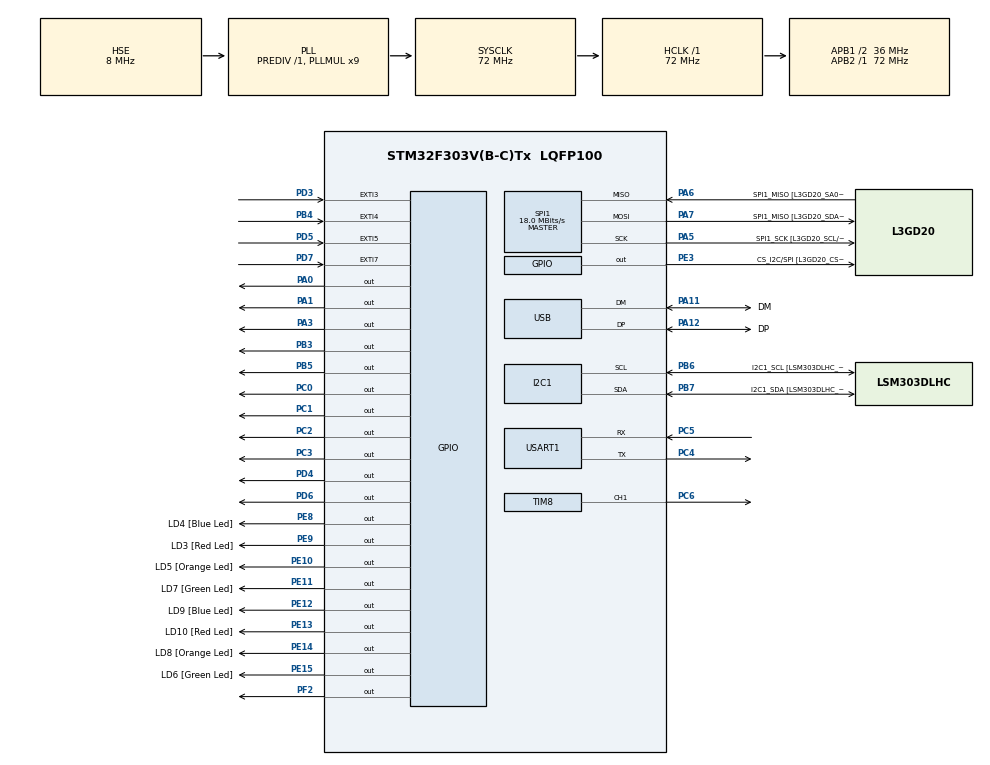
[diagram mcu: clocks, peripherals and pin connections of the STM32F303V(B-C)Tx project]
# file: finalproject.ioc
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I2C1.Timing-I2C=0x2000090E
Mcu.Family=STM32F3
Mcu.Name=STM32F303V(B-C)Tx
Mcu.Package=LQFP100
NVIC.EXTI3_IRQn=true\:0\:0\:false\:false\:true\:true\:true\:true
NVIC.EXTI4_IRQn=true\:0\:0\:false\:false\:true\:true\:true\:true
NVIC.EXTI9_5_IRQn=true\:0\:0\:false\:false\:true\:true\:true\:true
NVIC.PriorityGroup=NVIC_PRIORITYGROUP_4
NVIC.TIM2_IRQn=true\:1\:0\:true\:false\:true\:true\:true\:true
NVIC.TIM3_IRQn=true\:0\:0\:false\:false\:true\:true\:true\:true
PA0.Signal=GPIO_Output
PA1.Signal=GPIO_Output
PA11.GPIO_Label=DM
PA11.Mode=Device
PA11.Signal=USB_DM
PA12.GPIO_Label=DP
PA12.Mode=Device
PA12.Signal=USB_DP
PA13.GPIO_Label=SWDIO
PA13.Mode=Serial_Wire
PA13.Signal=SYS_JTMS-SWDIO
PA14.GPIO_Label=SWCLK
PA14.Mode=Serial_Wire
PA14.Signal=SYS_JTCK-SWCLK
PA3.Signal=GPIO_Output
PA5.GPIO_Label=SPI1_SCK [L3GD20_SCL/SPC]
PA5.Mode=Full_Duplex_Master
PA5.Signal=SPI1_SCK
PA6.GPIO_Label=SPI1_MISO [L3GD20_SA0/SDO]
PA6.Mode=Full_Duplex_Master
PA6.Signal=SPI1_MISO
PA7.GPIO_Label=SPI1_MISO [L3GD20_SDA/SDI/SDO]
PA7.Mode=Full_Duplex_Master
PA7.Signal=SPI1_MOSI
PB3.Signal=GPIO_Output
PB4.GPIO_PuPd=GPIO_PULLDOWN
PB4.Signal=GPXTI4
PB5.Signal=GPIO_Output
PB6.GPIO_Label=I2C1_SCL [LSM303DLHC_SCL]
PB6.GPIO_Pu=GPIO_PULLUP
PB6.Mode=I2C
PB6.Signal=I2C1_SCL
PB7.GPIO_Label=I2C1_SDA [LSM303DLHC_SDA]
PB7.GPIO_Pu=GPIO_PULLUP
PB7.Mode=I2C
PB7.Signal=I2C1_SDA
PC0.Signal=GPIO_Output
PC1.Signal=GPIO_Output
PC14-OSC32_IN.GPIO_Label=OSC32_IN
PC14-OSC32_IN.Signal=RCC_OSC32_IN
PC15-OSC32_OUT.GPIO_Label=OSC32_OUT
PC15-OSC32_OUT.Signal=RCC_OSC32_OUT
PC2.Signal=GPIO_Output
PC3.Signal=GPIO_Output
PC4.Mode=Asynchronous
PC4.Signal=USART1_TX
PC5.Mode=Asynchronous
PC5.Signal=USART1_RX
PC6.Signal=S_TIM8_CH1
PD3.GPIO_PuPd=GPIO_PULLDOWN
PD3.Signal=GPXTI3
PD4.Signal=GPIO_Output
PD5.GPIO_PuPd=GPIO_PULLDOWN
PD5.Signal=GPXTI5
PD6.Signal=GPIO_Output
PD7.GPIO_PuPd=GPIO_PULLDOWN
PD7.Signal=GPXTI7
PE10.GPIO_Label=LD5 [Orange Led]
PE10.Signal=GPIO_Output
PE11.GPIO_Label=LD7 [Green Led]
PE11.Signal=GPIO_Output
PE12.GPIO_Label=LD9 [Blue Led]
PE12.Signal=GPIO_Output
PE13.GPIO_Label=LD10 [Red Led]
PE13.Signal=GPIO_Output
PE14.GPIO_Label=LD8 [Orange Led]
PE14.Signal=GPIO_Output
PE15.GPIO_Label=LD6 [Green Led]
PE15.Signal=GPIO_Output
PE3.GPIO_Label=CS_I2C/SPI [L3GD20_CS_I2C/SPI]
PE3.Signal=GPIO_Output
PE8.GPIO_Label=LD4 [Blue Led]
PE8.Signal=GPIO_Output
PE9.GPIO_Label=LD3 [Red Led]
PE9.Signal=GPIO_Output
PF0-OSC_IN.GPIO_Label=OSC_IN
PF0-OSC_IN.Mode=HSE-External-Clock-Source
PF0-OSC_IN.Signal=RCC_OSC_IN
PF1-OSC_OUT.GPIO_Label=OSC_OUT
PF1-OSC_OUT.Signal=RCC_OSC_OUT
PF2.Signal=GPIO_Output
ProjectManager.HeapSize=0x200
ProjectManager.StackSize=0x400
ProjectManager.TargetToolchain=STM32CubeIDE
RCC.AHBFreq_Value=72000000
RCC.APB1CLKDivider=RCC_HCLK_DIV2
RCC.APB1Freq_Value=36000000
RCC.APB1TimFreq_Value=72000000
RCC.APB2Freq_Value=72000000
RCC.APB2TimFreq_Value=72000000
RCC.CortexFreq_Value=72000000
RCC.HCLKFreq_Value=72000000
RCC.HSE_VALUE=8000000
RCC.HSI_VALUE=8000000
RCC.LSE_VALUE=32768
RCC.PLLMUL=RCC_PLL_MUL9
RCC.PRESCALERUSB=RCC_USBCLKSOURCE_PLL_DIV1_5
RCC.SYSCLKFreq_VALUE=72000000
RCC.SYSCLKSourceVirtual=RCC_SYSCLKSOURCE_PLLCLK
RCC.USBFreq_Value=48000000
RTC.AsynchPrediv=39
RTC.Date=2
RTC.SynchPrediv=999
SH.S_TIM8_CH1.0=TIM8_CH1,PWM Generation1 CH1
SPI1.BaudRatePrescaler=SPI_BAUDRATEPRESCALER_4
SPI1.BaudRatePrescaler-Full_Duplex_Master=SPI_BAUDRATEPRESCALER_2
SPI1.CalculateBaudRate=18.0 MBits/s
SPI1.CalculateBaudRate-Full_Duplex_Master=24.0 MBits/s
SPI1.Direction=SPI_DIRECTION_2LINES
SPI1.Mode=SPI_MODE_MASTER
SPI1.Mode-Full_Duplex_Master=SPI_MODE_MASTER
SPI1.VirtualType=VM_MASTER
TIM2.Period=999
TIM2.Prescaler=143
TIM3.Period=999
TIM3.Prescaler=17
TIM8.Channel-PWM\ Generation1\ CH1=TIM_CHANNEL_1
TIM8.Prescaler=71
USART1.VirtualMode-Asynchronous=VM_ASYNC
VP_RTC_VS_RTC_Activate.Mode=RTC_Enabled
VP_RTC_VS_RTC_Calendar.Mode=RTC_Calendar
VP_TIM2_VS_ClockSourceINT.Mode=Internal
VP_TIM3_VS_ClockSourceINT.Mode=Internal
VP_TIM8_VS_ClockSourceINT.Mode=Internal
board=STM32F3DISCOVERY

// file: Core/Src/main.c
/* USER CODE BEGIN Header */
/**
 ******************************************************************************
 * @file           : main.c
 * @brief          : Main program body
 ******************************************************************************
 * @attention
 *
 * Copyright (c) 2024 STMicroelectronics.
 * All rights reserved.
 *
 * This software is licensed under terms that can be found in the LICENSE file
 * in the root directory of this software component.
 * If no LICENSE file comes with this software, it is provided AS-IS.
 *
 ******************************************************************************
 */
/* USER CODE END Header */
#include "main.h"

/* USER CODE BEGIN Includes */
#include "LiquidCrystal.h"
/* USER CODE END Includes */

/* USER CODE BEGIN PTD */
RTC_TimeTypeDef myTime;
RTC_DateTypeDef myDate;

typedef unsigned char byte;

typedef struct {
    uint16_t frequency;
    uint16_t duration;
} Tone;

typedef struct {
    char symbol; //T tank, B bullet, H health, R rocket, M manee
    char direction; // U, D, L, R
    int x, y;
    int health;
    int bullet;
    int score;
} Element;

/* USER CODE END PTD */

/* USER CODE BEGIN PD */
#define NOTE_B0  31
#define NOTE_C1  33
#define NOTE_CS1 35
#define NOTE_D1  37
#define NOTE_DS1 39
#define NOTE_E1  41
#define NOTE_F1  44
#define NOTE_FS1 46
#define NOTE_G1  49
#define NOTE_GS1 52
#define NOTE_A1  55
#define NOTE_AS1 58
#define NOTE_B1  62
#define NOTE_C2  65
#define NOTE_CS2 69
#define NOTE_D2  73
#define NOTE_DS2 78
#define NOTE_E2  82
#define NOTE_F2  87
#define NOTE_FS2 93
#define NOTE_G2  98
#define NOTE_GS2 104
#define NOTE_A2  110
#define NOTE_AS2 117
#define NOTE_B2  123
#define NOTE_C3  131
#define NOTE_CS3 139
#define NOTE_D3  147
#define NOTE_DS3 156
#define NOTE_E3  165
#define NOTE_F3  175
#define NOTE_FS3 185
#define NOTE_G3  196
#define NOTE_GS3 208
#define NOTE_A3  220
#define NOTE_AS3 233
#define NOTE_B3  247
#define NOTE_C4  262
#define NOTE_CS4 277
#define NOTE_D4  294
#define NOTE_DS4 311
#define NOTE_E4  330
#define NOTE_F4  349
#define NOTE_FS4 370
#define NOTE_G4  392
#define NOTE_GS4 415
#define NOTE_A4  440
#define NOTE_AS4 466
#define NOTE_B4  494
#define NOTE_C5  523
#define NOTE_CS5 554
#define NOTE_D5  587
#define NOTE_DS5 622
#define NOTE_E5  659
#define NOTE_F5  698
#define NOTE_FS5 740
#define NOTE_G5  784
#define NOTE_GS5 831
#define NOTE_A5  880
#define NOTE_AS5 932
#define NOTE_B5  988
#define NOTE_C6  1047
#define NOTE_CS6 1109
#define NOTE_D6  1175
#define NOTE_DS6 1245
#define NOTE_E6  1319
#define NOTE_F6  1397
#define NOTE_FS6 1480
#define NOTE_G6  1568
#define NOTE_GS6 1661
#define NOTE_A6  1760
#define NOTE_AS6 1865
#define NOTE_B6  1976
#define NOTE_C7  2093
#define NOTE_CS7 2217
#define NOTE_D7  2349
#define NOTE_DS7 2489
#define NOTE_E7  2637
#define NOTE_F7  2794
#define NOTE_FS7 2960
#define NOTE_G7  3136
#define NOTE_GS7 3322
#define NOTE_A7  3520
#define NOTE_AS7 3729
#define NOTE_B7  3951
#define NOTE_C8  4186
#define NOTE_CS8 4435
#define NOTE_D8  4699
#define NOTE_DS8 4978
#define REST      0
/* USER CODE END PD */

/* USER CODE BEGIN PM */
#define ARRAY_LENGTH(arr) (sizeof(arr) / sizeof((arr)[0]))
/* USER CODE END PM */

I2C_HandleTypeDef hi2c1;

RTC_HandleTypeDef hrtc;

SPI_HandleTypeDef hspi1;

TIM_HandleTypeDef htim2;
TIM_HandleTypeDef htim3;
TIM_HandleTypeDef htim8;

UART_HandleTypeDef huart1;

PCD_HandleTypeDef hpcd_USB_FS;

/* USER CODE BEGIN PV */
int mode = 0;
int health = 2;
int bullet = 8;
int sounds = 1;
int music = 1;
int clear_flag = 0;
int flag = 0;
int select_line = 1;
int select_item = 1;
char name1[20];
char name2[20];
int x1 = 2, y1 = 0;
int x2 = 1, y2 = 19;
char str[100];

int sounds_play = 0;
int sounds_time;

char msg[100];

byte tankU[] = {0x00, 0x0E, 0x0E, 0x0E, 0x1F, 0x1F, 0x00, 0x00};

byte tankR[] = {0x1C, 0x1C, 0x1C, 0x1F, 0x1F, 0x1C, 0x1C, 0x1C};
byte tankD[] = {0x00, 0x00, 0x1F, 0x1F, 0x0E, 0x0E, 0x0E, 0x00};
byte tankL[] = {0x07, 0x07, 0x07, 0x1F, 0x1F, 0x07, 0x07, 0x07};

byte wall[] = {0x1F, 0x1F, 0x1F, 0x1F, 0x1F, 0x1F, 0x1F, 0x1F};

byte manee[] = {0x1F, 0x0E, 0x0E, 0x0E, 0x0E, 0x0E, 0x0E, 0x1F};

byte heart[] = {0x00, 0x00, 0x0A, 0x1F, 0x1F, 0x0E, 0x04, 0x00};

byte rocket[] = {0x08, 0x1C, 0x08, 0x03, 0x07, 0x0E, 0x1C, 0x08};

byte box[] = {0x1F, 0x11, 0x15, 0x1D, 0x19, 0x1B, 0x1F, 0x1B};

Element board[4][20];

GPIO_TypeDef *const Row_ports[] = {GPIOD, GPIOD, GPIOD, GPIOB};
const uint16_t Row_pins[] = {GPIO_PIN_3, GPIO_PIN_5, GPIO_PIN_7, GPIO_PIN_4};
GPIO_TypeDef *const Column_ports[] = {GPIOD, GPIOD, GPIOB, GPIOB};
const uint16_t Column_pins[] =
        {GPIO_PIN_4, GPIO_PIN_6, GPIO_PIN_3, GPIO_PIN_5};
volatile uint32_t last_gpio_exti;

const Tone *volatile melody_ptr;
volatile uint16_t melody_tone_count;
volatile uint16_t current_tone_number;
volatile uint32_t current_tone_end;
volatile uint16_t volume = 100;
const Tone one[] = {{NOTE_B4,  128},
                    {NOTE_B5,  128},
                    {NOTE_FS5, 128},
                    {
                     NOTE_DS5, 128},
                    {NOTE_B5,  64},
                    {NOTE_FS5, 192},
                    {NOTE_DS5, 256},
                    {NOTE_C5,  128},
                    {NOTE_C6,  128},
                    {NOTE_G6,  128},
                    {NOTE_E6,  128},
                    {NOTE_C6,  64},
                    {NOTE_G6,  192},
                    {NOTE_E6,  256},
                    {NOTE_B4,  128},
                    {
                     NOTE_B5,  128},
                    {NOTE_FS5, 128},
                    {NOTE_DS5, 128},
                    {NOTE_B5,
                               64},
                    {NOTE_FS5, 192},
                    {NOTE_DS5, 256},
                    {NOTE_DS5, 64},
                    {
                     NOTE_E5,  64},
                    {NOTE_F5,  64},
                    {NOTE_F5,  64},
                    {NOTE_FS5, 64},
                    {NOTE_G5,  64},
                    {NOTE_G5,  64},
                    {NOTE_GS5, 64},
                    {
                     NOTE_A5,  128},
                    {NOTE_B5,  256},
                    {0,        0}};

const Tone two[] = {{REST,     750},
                    {NOTE_D4,  374},
                    {NOTE_G4,  561},
                    {
                     NOTE_AS4, 187},
                    {NOTE_A4,  374},
                    {NOTE_G4,  750},
                    {NOTE_D5,  374},
                    {
                     NOTE_C5,  1124},
                    {NOTE_A4,  1124},
                    {NOTE_G4,  561},
                    {NOTE_AS4, 187},
                    {NOTE_A4,  374},
                    {NOTE_F4,  750},
                    {NOTE_GS4, 374},
                    {NOTE_D4,  2249},
                    {NOTE_D4,  374},
                    {NOTE_G4,  561},
                    {NOTE_AS4, 187},
                    {NOTE_A4,  374},
                    {NOTE_G4,  750},
                    {NOTE_D5,  374},
                    {NOTE_F5,  750},
                    {NOTE_E5,  374},
                    {NOTE_DS5, 750},
                    {NOTE_B4,  374},
                    {NOTE_DS5, 561},
                    {NOTE_D5,  187},
                    {NOTE_CS5, 374},
                    {NOTE_CS4, 750},
                    {NOTE_B4,  374},
                    {NOTE_G4,  2249},
                    {NOTE_AS4, 374},
                    {NOTE_D5,  750},
                    {NOTE_AS4, 374},
                    {NOTE_D5,  750},
                    {NOTE_AS4, 374},
                    {NOTE_DS5, 750},
                    {NOTE_D5,  374},
                    {NOTE_CS5, 750},
                    {NOTE_A4,  374},
                    {NOTE_AS4, 561},
                    {NOTE_D5,  187},
                    {NOTE_CS5, 374},
                    {NOTE_CS4, 750},
                    {NOTE_D4,  374},
                    {NOTE_D5,  1700},
                    {REST,     150},
                    {
                     NOTE_AS4, 374},
                    {NOTE_D5,  750},
                    {NOTE_AS4, 374},
                    {NOTE_D5,
                               750},
                    {NOTE_AS4, 374},
                    {NOTE_F5,  750},
                    {NOTE_E5,  374},
                    {
                     NOTE_DS5, 750},
                    {NOTE_B4,  374},
                    {NOTE_DS5, 561},
                    {NOTE_D5,
                               187},
                    {NOTE_CS5, 374},
                    {NOTE_CS4, 750},
                    {NOTE_AS4, 374},
                    {NOTE_G4,  2249},
                    {0,        0}};
/* USER CODE END PV */

void SystemClock_Config(void);

static void MX_GPIO_Init(void);

static void MX_I2C1_Init(void);

static void MX_SPI1_Init(void);

static void MX_USB_PCD_Init(void);

static void MX_TIM2_Init(void);

static void MX_USART1_UART_Init(void);

static void MX_RTC_Init(void);

static void MX_TIM8_Init(void);

static void MX_TIM3_Init(void);

/* USER CODE BEGIN 0 */

typedef struct {
    GPIO_TypeDef *port;
    uint16_t pin;
} pin_type;

pin_type pins[9] = {{},
                    {.port = GPIOE, .pin = GPIO_PIN_15},
                    {
                            .port = GPIOE, .pin = GPIO_PIN_8},
                    {.port = GPIOE, .pin = GPIO_PIN_9},
                    {.port = GPIOE, .pin =
                    GPIO_PIN_10},
                    {.port = GPIOE, .pin = GPIO_PIN_11},
                    {.port =
                    GPIOE, .pin = GPIO_PIN_12},
                    {.port = GPIOE, .pin = GPIO_PIN_13},
                    {.port = GPIOE, .pin =
                    GPIO_PIN_14}};

typedef struct {
    pin_type digit_activators[4];
    pin_type BCD_input[4];
    uint32_t digits[4];
    uint32_t number;
    uint32_t selected;
} seven_segment_type;

seven_segment_type seven_segment = {.digit_activators = {{.port = GPIOC,
                                                                 .pin = GPIO_PIN_0},
                                                         {.port = GPIOC, .pin = GPIO_PIN_1},
                                                         {.port =
                                                         GPIOC, .pin = GPIO_PIN_2},
                                                         {.port = GPIOC, .pin = GPIO_PIN_3}},
        .BCD_input = {{.port = GPIOF, .pin = GPIO_PIN_2},
                      {.port = GPIOA,
                              .pin = GPIO_PIN_1},
                      {.port = GPIOA, .pin = GPIO_PIN_0},
                      {
                              .port = GPIOA, .pin = GPIO_PIN_3}}, .digits = {1, 1, 0, 0},
        .number = 0};

void seven_segment_display_decimal(uint32_t n) {
    if (n < 10) {
        HAL_GPIO_WritePin(seven_segment.BCD_input[0].port,
                          seven_segment.BCD_input[0].pin,
                          (n & 1) ? GPIO_PIN_SET : GPIO_PIN_RESET);
        HAL_GPIO_WritePin(seven_segment.BCD_input[1].port,
                          seven_segment.BCD_input[1].pin,
                          (n & 2) ? GPIO_PIN_SET : GPIO_PIN_RESET);
        HAL_GPIO_WritePin(seven_segment.BCD_input[2].port,
                          seven_segment.BCD_input[2].pin,
                          (n & 4) ? GPIO_PIN_SET : GPIO_PIN_RESET);
        HAL_GPIO_WritePin(seven_segment.BCD_input[3].port,
                          seven_segment.BCD_input[3].pin,
                          (n & 8) ? GPIO_PIN_SET : GPIO_PIN_RESET);
    }
}

void seven_segment_deactivate_digits(void) {
    for (int i = 0; i < 4; ++i) {
        HAL_GPIO_WritePin(seven_segment.digit_activators[i].port,
                          seven_segment.digit_activators[i].pin, GPIO_PIN_RESET);
    }
}

uint32_t select_time;

void seven_segment_activate_digit(uint32_t d) {
    if (d < 4) {
        if ((HAL_GetTick() - select_time > 150 && board[x1][y1].health <= 1
             && d == 3)
            || (HAL_GetTick() - select_time > 150
                && board[x2][y2].health <= 1 && d == 1)) {
            HAL_GPIO_TogglePin(seven_segment.digit_activators[d].port,
                               seven_segment.digit_activators[d].pin);
            select_time = HAL_GetTick();
        } else if ((board[x1][y1].health == 1 && d == 3)
                   || (board[x2][y2].health == 1 && d == 1)) {
            HAL_GPIO_WritePin(GPIOC, GPIO_PIN_0, 0);
        } else {
            HAL_GPIO_WritePin(seven_segment.digit_activators[d].port,
                              seven_segment.digit_activators[d].pin, GPIO_PIN_SET);
        }
    }

}

void seven_segment_set_num(uint32_t n) {
    if (n < 10000) {
        seven_segment.number = n;
        for (uint32_t i = 0; i < 4; ++i) {
            seven_segment.digits[3 - i] = n % 10;
            n /= 10;
        }
    }
}

void seven_segment_refresh(void) {
    static uint32_t state = 0;
    static uint32_t last_time = 0;
    int x = 5;
    if (HAL_GetTick() - last_time > x) {
        seven_segment_deactivate_digits();
        seven_segment_activate_digit(state);
        seven_segment_display_decimal(seven_segment.digits[state]);
        state = (state + 1) % 4;
        last_time = HAL_GetTick();
    }
}

TIM_HandleTypeDef *pwm_timer = &htim8; // Point to PWM timer configured in CubeMX
uint32_t pwm_channel = TIM_CHANNEL_1;  // Specify configured PWM channel

void PWM_Start() {
    HAL_TIM_PWM_Start(pwm_timer, pwm_channel);
}

void PWM_Change_Tone(uint16_t pwm_freq, uint16_t volume) {
    if (pwm_freq == 0 || pwm_freq > 20000) {
        __HAL_TIM_SET_COMPARE(pwm_timer, pwm_channel, 0);
    } else {
        const uint32_t internal_clock_freq = HAL_RCC_GetSysClockFreq();
        const uint16_t prescaler = 1 + internal_clock_freq / pwm_freq / 60000;
        const uint32_t timer_clock = internal_clock_freq / prescaler;
        const uint32_t period_cycles = timer_clock / pwm_freq;
        const uint32_t pulse_width = volume * period_cycles / 1000 / 2;

        pwm_timer->Instance->PSC = prescaler - 1;
        pwm_timer->Instance->ARR = period_cycles - 1;
        pwm_timer->Instance->EGR = TIM_EGR_UG;
        __HAL_TIM_SET_COMPARE(pwm_timer, pwm_channel, pulse_width);
    }
}

void Change_Melody(const Tone *melody, uint16_t tone_count) {
    melody_ptr = melody;
    melody_tone_count = tone_count;
    current_tone_number = 0;
}

void Update_Melody() {
    if ((HAL_GetTick() > current_tone_end)
        && (current_tone_number < melody_tone_count) && mode != 2) {
        const Tone active_tone = *(melody_ptr + current_tone_number);
        PWM_Change_Tone(active_tone.frequency, volume);
        current_tone_end = HAL_GetTick() + active_tone.duration;
        current_tone_number++;
        if (current_tone_number == melody_tone_count)
            current_tone_number = 0;
    }
}
/* USER CODE END 0 */

int main(void) {
    /* USER CODE BEGIN 1 */
    sprintf(name1, "SAJJAD");
    sprintf(name2, "TAHOORA");
    /* USER CODE END 1 */

    /* MCU Configuration--------------------------------------------------------*/

    /* Reset of all peripherals, Initializes the Flash interface and the Systick. */
    HAL_Init();

    /* Configure the system clock */
    SystemClock_Config();

    /* Initialize all configured peripherals */
    MX_GPIO_Init();
    MX_I2C1_Init();
    MX_SPI1_Init();
    MX_USB_PCD_Init();
    MX_TIM2_Init();
    MX_USART1_UART_Init();
    MX_RTC_Init();
    MX_TIM8_Init();
    MX_TIM3_Init();
    /* USER CODE BEGIN 2 */
    LiquidCrystal(GPIOD, GPIO_PIN_8, GPIO_PIN_9, GPIO_PIN_10, GPIO_PIN_11,
                  GPIO_PIN_12, GPIO_PIN_13, GPIO_PIN_14);
    begin(20, 4);
    HAL_GPIO_WritePin(Column_ports[0], Column_pins[0], 1);
    HAL_GPIO_WritePin(Column_ports[1], Column_pins[1], 1);
    HAL_GPIO_WritePin(Column_ports[2], Column_pins[2], 1);
    HAL_GPIO_WritePin(Column_ports[3], Column_pins[3], 1);
//  myTime.Hours = 0;
//  myTime.Minutes = 0;
//  myTime.Seconds = 0;
//  HAL_RTC_SetTime(&hrtc, &myTime, RTC_FORMAT_BIN);
//  myDate.Year = 0;
//  myDate.Month = 0;
//  myDate.Date = 0;
//  HAL_RTC_SetDate(&hrtc, &myDate, RTC_FORMAT_BIN);
    createChar(0, tankU);
    createChar(1, tankR);
    createChar(2, tankD);
    createChar(3, tankL);
    createChar(4, wall);
    createChar(5, manee);
    createChar(6, heart);
    createChar(7, rocket);
    HAL_TIM_Base_Start_IT(&htim2);
    HAL_TIM_Base_Start_IT(&htim3);
    HAL_TIM_Base_Start_IT(&htim8);
    PWM_Start();
    /* USER CODE END 2 */

    /* Infinite loop */
    /* USER CODE BEGIN WHILE */
    while (1) {
        if (mode == 2) {
            static uint32_t last_time = 0;
//            if (HAL_GetTick() - last_time > 30000) {
//                generate_random_items();
//                last_time = HAL_GetTick();
//            }
            print_board();
        } else if (mode == 5) {
            sprintf(msg, "END\n");
            HAL_UART_Transmit(&huart1, msg, strlen(msg), 100);
            sprintf(msg, "Score First: %d\n", board[x1][y1].score);
            HAL_UART_Transmit(&huart1, msg, strlen(msg), 100);
            sprintf(msg, "Score Second: %d\n", board[x2][y2].score);
            HAL_UART_Transmit(&huart1, msg, strlen(msg), 100);
            sprintf(msg, "**********\n");
            HAL_UART_Transmit(&huart1, msg, strlen(msg), 100);
            print_end();
            break;
        }

        /* USER CODE END WHILE */

    }
}

void SystemClock_Config(void) {
    RCC_OscInitTypeDef RCC_OscInitStruct = {0};
    RCC_ClkInitTypeDef RCC_ClkInitStruct = {0};
    RCC_PeriphCLKInitTypeDef PeriphClkInit = {0};

    /** Initializes the RCC Oscillators according to the specified parameters
    * in the RCC_OscInitTypeDef structure.
    */
    RCC_OscInitStruct.OscillatorType = RCC_OSCILLATORTYPE_HSI | RCC_OSCILLATORTYPE_LSI
                                       | RCC_OSCILLATORTYPE_HSE;
    RCC_OscInitStruct.HSEState = RCC_HSE_BYPASS;
    RCC_OscInitStruct.HSEPredivValue = RCC_HSE_PREDIV_DIV1;
    RCC_OscInitStruct.HSIState = RCC_HSI_ON;
    RCC_OscInitStruct.HSICalibrationValue = RCC_HSICALIBRATION_DEFAULT;
    RCC_OscInitStruct.LSIState = RCC_LSI_ON;
    RCC_OscInitStruct.PLL.PLLState = RCC_PLL_ON;
    RCC_OscInitStruct.PLL.PLLSource = RCC_PLLSOURCE_HSE;
    RCC_OscInitStruct.PLL.PLLMUL = RCC_PLL_MUL9;
    if (HAL_RCC_OscConfig(&RCC_OscInitStruct) != HAL_OK) {
        Error_Handler();
    }

    /** Initializes the CPU, AHB and APB buses clocks
    */
    RCC_ClkInitStruct.ClockType = RCC_CLOCKTYPE_HCLK | RCC_CLOCKTYPE_SYSCLK
                                  | RCC_CLOCKTYPE_PCLK1 | RCC_CLOCKTYPE_PCLK2;
    RCC_ClkInitStruct.SYSCLKSource = RCC_SYSCLKSOURCE_PLLCLK;
    RCC_ClkInitStruct.AHBCLKDivider = RCC_SYSCLK_DIV1;
    RCC_ClkInitStruct.APB1CLKDivider = RCC_HCLK_DIV2;
    RCC_ClkInitStruct.APB2CLKDivider = RCC_HCLK_DIV1;

    if (HAL_RCC_ClockConfig(&RCC_ClkInitStruct, FLASH_LATENCY_2) != HAL_OK) {
        Error_Handler();
    }
    PeriphClkInit.PeriphClockSelection = RCC_PERIPHCLK_USB | RCC_PERIPHCLK_USART1
                                         | RCC_PERIPHCLK_I2C1 | RCC_PERIPHCLK_RTC
                                         | RCC_PERIPHCLK_TIM8;
    PeriphClkInit.Usart1ClockSelection = RCC_USART1CLKSOURCE_PCLK2;
    PeriphClkInit.I2c1ClockSelection = RCC_I2C1CLKSOURCE_HSI;
    PeriphClkInit.RTCClockSelection = RCC_RTCCLKSOURCE_LSI;
    PeriphClkInit.USBClockSelection = RCC_USBCLKSOURCE_PLL_DIV1_5;
    PeriphClkInit.Tim8ClockSelection = RCC_TIM8CLK_HCLK;
    if (HAL_RCCEx_PeriphCLKConfig(&PeriphClkInit) != HAL_OK) {
        Error_Handler();
    }
}

static void MX_I2C1_Init(void) {

    hi2c1.Instance = I2C1;
    hi2c1.Init.Timing = 0x2000090E;
    hi2c1.Init.OwnAddress1 = 0;
    hi2c1.Init.AddressingMode = I2C_ADDRESSINGMODE_7BIT;
    hi2c1.Init.DualAddressMode = I2C_DUALADDRESS_DISABLE;
    hi2c1.Init.OwnAddress2 = 0;
    hi2c1.Init.OwnAddress2Masks = I2C_OA2_NOMASK;
    hi2c1.Init.GeneralCallMode = I2C_GENERALCALL_DISABLE;
    hi2c1.Init.NoStretchMode = I2C_NOSTRETCH_DISABLE;
    if (HAL_I2C_Init(&hi2c1) != HAL_OK) {
        Error_Handler();
    }

    /** Configure Analogue filter
    */
    if (HAL_I2CEx_ConfigAnalogFilter(&hi2c1, I2C_ANALOGFILTER_ENABLE) != HAL_OK) {
        Error_Handler();
    }

    /** Configure Digital filter
    */
    if (HAL_I2CEx_ConfigDigitalFilter(&hi2c1, 0) != HAL_OK) {
        Error_Handler();
    }

}

static void MX_RTC_Init(void) {

    RTC_TimeTypeDef sTime = {0};
    RTC_DateTypeDef sDate = {0};

    /** Initialize RTC Only
    */
    hrtc.Instance = RTC;
    hrtc.Init.HourFormat = RTC_HOURFORMAT_24;
    hrtc.Init.AsynchPrediv = 39;
    hrtc.Init.SynchPrediv = 999;
    hrtc.Init.OutPut = RTC_OUTPUT_DISABLE;
    hrtc.Init.OutPutPolarity = RTC_OUTPUT_POLARITY_HIGH;
    hrtc.Init.OutPutType = RTC_OUTPUT_TYPE_OPENDRAIN;
    if (HAL_RTC_Init(&hrtc) != HAL_OK) {
        Error_Handler();
    }

    /** Initialize RTC and set the Time and Date
    */
    sTime.Hours = 0x0;
    sTime.Minutes = 0x0;
    sTime.Seconds = 0x0;
    sTime.DayLightSaving = RTC_DAYLIGHTSAVING_NONE;
    sTime.StoreOperation = RTC_STOREOPERATION_RESET;
    if (HAL_RTC_SetTime(&hrtc, &sTime, RTC_FORMAT_BCD) != HAL_OK) {
        Error_Handler();
    }
    sDate.WeekDay = RTC_WEEKDAY_MONDAY;
    sDate.Month = RTC_MONTH_JANUARY;
    sDate.Date = 0x2;
    sDate.Year = 0x0;

    if (HAL_RTC_SetDate(&hrtc, &sDate, RTC_FORMAT_BCD) != HAL_OK) {
        Error_Handler();
    }

}

static void MX_SPI1_Init(void) {

    /* SPI1 parameter configuration*/
    hspi1.Instance = SPI1;
    hspi1.Init.Mode = SPI_MODE_MASTER;
    hspi1.Init.Direction = SPI_DIRECTION_2LINES;
    hspi1.Init.DataSize = SPI_DATASIZE_4BIT;
    hspi1.Init.CLKPolarity = SPI_POLARITY_LOW;
    hspi1.Init.CLKPhase = SPI_PHASE_1EDGE;
    hspi1.Init.NSS = SPI_NSS_SOFT;
    hspi1.Init.BaudRatePrescaler = SPI_BAUDRATEPRESCALER_4;
    hspi1.Init.FirstBit = SPI_FIRSTBIT_MSB;
    hspi1.Init.TIMode = SPI_TIMODE_DISABLE;
    hspi1.Init.CRCCalculation = SPI_CRCCALCULATION_DISABLE;
    hspi1.Init.CRCPolynomial = 7;
    hspi1.Init.CRCLength = SPI_CRC_LENGTH_DATASIZE;
    hspi1.Init.NSSPMode = SPI_NSS_PULSE_ENABLE;
    if (HAL_SPI_Init(&hspi1) != HAL_OK) {
        Error_Handler();
    }

}

static void MX_TIM2_Init(void) {

    TIM_ClockConfigTypeDef sClockSourceConfig = {0};
    TIM_MasterConfigTypeDef sMasterConfig = {0};

    htim2.Instance = TIM2;
    htim2.Init.Prescaler = 143;
    htim2.Init.CounterMode = TIM_COUNTERMODE_UP;
    htim2.Init.Period = 999;
    htim2.Init.ClockDivision = TIM_CLOCKDIVISION_DIV1;
    htim2.Init.AutoReloadPreload = TIM_AUTORELOAD_PRELOAD_DISABLE;
    if (HAL_TIM_Base_Init(&htim2) != HAL_OK) {
        Error_Handler();
    }
    sClockSourceConfig.ClockSource = TIM_CLOCKSOURCE_INTERNAL;
    if (HAL_TIM_ConfigClockSource(&htim2, &sClockSourceConfig) != HAL_OK) {
        Error_Handler();
    }
    sMasterConfig.MasterOutputTrigger = TIM_TRGO_RESET;
    sMasterConfig.MasterSlaveMode = TIM_MASTERSLAVEMODE_DISABLE;
    if (HAL_TIMEx_MasterConfigSynchronization(&htim2, &sMasterConfig) != HAL_OK) {
        Error_Handler();
    }

}

static void MX_TIM3_Init(void) {

    TIM_ClockConfigTypeDef sClockSourceConfig = {0};
    TIM_MasterConfigTypeDef sMasterConfig = {0};

    htim3.Instance = TIM3;
    htim3.Init.Prescaler = 17;
    htim3.Init.CounterMode = TIM_COUNTERMODE_UP;
    htim3.Init.Period = 999;
    htim3.Init.ClockDivision = TIM_CLOCKDIVISION_DIV1;
    htim3.Init.AutoReloadPreload = TIM_AUTORELOAD_PRELOAD_DISABLE;
    if (HAL_TIM_Base_Init(&htim3) != HAL_OK) {
        Error_Handler();
    }
    sClockSourceConfig.ClockSource = TIM_CLOCKSOURCE_INTERNAL;
    if (HAL_TIM_ConfigClockSource(&htim3, &sClockSourceConfig) != HAL_OK) {
        Error_Handler();
    }
    sMasterConfig.MasterOutputTrigger = TIM_TRGO_RESET;
    sMasterConfig.MasterSlaveMode = TIM_MASTERSLAVEMODE_DISABLE;
    if (HAL_TIMEx_MasterConfigSynchronization(&htim3, &sMasterConfig) != HAL_OK) {
        Error_Handler();
    }

}

static void MX_TIM8_Init(void) {

    TIM_ClockConfigTypeDef sClockSourceConfig = {0};
    TIM_MasterConfigTypeDef sMasterConfig = {0};
    TIM_OC_InitTypeDef sConfigOC = {0};
    TIM_BreakDeadTimeConfigTypeDef sBreakDeadTimeConfig = {0};

    htim8.Instance = TIM8;
    htim8.Init.Prescaler = 71;
    htim8.Init.CounterMode = TIM_COUNTERMODE_UP;
    htim8.Init.Period = 65535;
    htim8.Init.ClockDivision = TIM_CLOCKDIVISION_DIV1;
    htim8.Init.RepetitionCounter = 0;
    htim8.Init.AutoReloadPreload = TIM_AUTORELOAD_PRELOAD_DISABLE;
    if (HAL_TIM_Base_Init(&htim8) != HAL_OK) {
        Error_Handler();
    }
    sClockSourceConfig.ClockSource = TIM_CLOCKSOURCE_INTERNAL;
    if (HAL_TIM_ConfigClockSource(&htim8, &sClockSourceConfig) != HAL_OK) {
        Error_Handler();
    }
    if (HAL_TIM_PWM_Init(&htim8) != HAL_OK) {
        Error_Handler();
    }
    sMasterConfig.MasterOutputTrigger = TIM_TRGO_RESET;
    sMasterConfig.MasterOutputTrigger2 = TIM_TRGO2_RESET;
    sMasterConfig.MasterSlaveMode = TIM_MASTERSLAVEMODE_DISABLE;
    if (HAL_TIMEx_MasterConfigSynchronization(&htim8, &sMasterConfig) != HAL_OK) {
        Error_Handler();
    }
    sConfigOC.OCMode = TIM_OCMODE_PWM1;
    sConfigOC.Pulse = 0;
    sConfigOC.OCPolarity = TIM_OCPOLARITY_HIGH;
    sConfigOC.OCNPolarity = TIM_OCNPOLARITY_HIGH;
    sConfigOC.OCFastMode = TIM_OCFAST_DISABLE;
    sConfigOC.OCIdleState = TIM_OCIDLESTATE_RESET;
    sConfigOC.OCNIdleState = TIM_OCNIDLESTATE_RESET;
    if (HAL_TIM_PWM_ConfigChannel(&htim8, &sConfigOC, TIM_CHANNEL_1) != HAL_OK) {
        Error_Handler();
    }
    sBreakDeadTimeConfig.OffStateRunMode = TIM_OSSR_DISABLE;
    sBreakDeadTimeConfig.OffStateIDLEMode = TIM_OSSI_DISABLE;
    sBreakDeadTimeConfig.LockLevel = TIM_LOCKLEVEL_OFF;
    sBreakDeadTimeConfig.DeadTime = 0;
    sBreakDeadTimeConfig.BreakState = TIM_BREAK_DISABLE;
    sBreakDeadTimeConfig.BreakPolarity = TIM_BREAKPOLARITY_HIGH;
    sBreakDeadTimeConfig.BreakFilter = 0;
    sBreakDeadTimeConfig.Break2State = TIM_BREAK2_DISABLE;
    sBreakDeadTimeConfig.Break2Polarity = TIM_BREAK2POLARITY_HIGH;
    sBreakDeadTimeConfig.Break2Filter = 0;
    sBreakDeadTimeConfig.AutomaticOutput = TIM_AUTOMATICOUTPUT_DISABLE;
    if (HAL_TIMEx_ConfigBreakDeadTime(&htim8, &sBreakDeadTimeConfig) != HAL_OK) {
        Error_Handler();
    }
    HAL_TIM_MspPostInit(&htim8);

}

static void MX_USART1_UART_Init(void) {

    huart1.Instance = USART1;
    huart1.Init.BaudRate = 38400;
    huart1.Init.WordLength = UART_WORDLENGTH_8B;
    huart1.Init.StopBits = UART_STOPBITS_1;
    huart1.Init.Parity = UART_PARITY_NONE;
    huart1.Init.Mode = UART_MODE_TX_RX;
    huart1.Init.HwFlowCtl = UART_HWCONTROL_NONE;
    huart1.Init.OverSampling = UART_OVERSAMPLING_16;
    huart1.Init.OneBitSampling = UART_ONE_BIT_SAMPLE_DISABLE;
    huart1.AdvancedInit.AdvFeatureInit = UART_ADVFEATURE_NO_INIT;
    if (HAL_UART_Init(&huart1) != HAL_OK) {
        Error_Handler();
    }

}

static void MX_USB_PCD_Init(void) {

    hpcd_USB_FS.Instance = USB;
    hpcd_USB_FS.Init.dev_endpoints = 8;
    hpcd_USB_FS.Init.speed = PCD_SPEED_FULL;
    hpcd_USB_FS.Init.phy_itface = PCD_PHY_EMBEDDED;
    hpcd_USB_FS.Init.low_power_enable = DISABLE;
    hpcd_USB_FS.Init.battery_charging_enable = DISABLE;
    if (HAL_PCD_Init(&hpcd_USB_FS) != HAL_OK) {
        Error_Handler();
    }

}

static void MX_GPIO_Init(void) {
    GPIO_InitTypeDef GPIO_InitStruct = {0};

    /* GPIO Ports Clock Enable */
    __HAL_RCC_GPIOE_CLK_ENABLE();
    __HAL_RCC_GPIOC_CLK_ENABLE();
    __HAL_RCC_GPIOF_CLK_ENABLE();
    __HAL_RCC_GPIOA_CLK_ENABLE();
    __HAL_RCC_GPIOD_CLK_ENABLE();
    __HAL_RCC_GPIOB_CLK_ENABLE();

    /*Configure GPIO pin Output Level */
    HAL_GPIO_WritePin(GPIOE, CS_I2C_SPI_Pin | LD4_Pin | LD3_Pin | LD5_Pin
                             | LD7_Pin | LD9_Pin | LD10_Pin | LD8_Pin
                             | LD6_Pin, GPIO_PIN_RESET);

    /*Configure GPIO pin Output Level */
    HAL_GPIO_WritePin(GPIOC, GPIO_PIN_0 | GPIO_PIN_1 | GPIO_PIN_2 | GPIO_PIN_3, GPIO_PIN_RESET);

    /*Configure GPIO pin Output Level */
    HAL_GPIO_WritePin(GPIOF, GPIO_PIN_2, GPIO_PIN_RESET);

    /*Configure GPIO pin Output Level */
    HAL_GPIO_WritePin(GPIOA, GPIO_PIN_0 | GPIO_PIN_1 | GPIO_PIN_3, GPIO_PIN_RESET);

    /*Configure GPIO pin Output Level */
    HAL_GPIO_WritePin(GPIOD, GPIO_PIN_4 | GPIO_PIN_6, GPIO_PIN_RESET);

    /*Configure GPIO pin Output Level */
    HAL_GPIO_WritePin(GPIOB, GPIO_PIN_3 | GPIO_PIN_5, GPIO_PIN_RESET);

    /*Configure GPIO pins : CS_I2C_SPI_Pin LD4_Pin LD3_Pin LD5_Pin
                             LD7_Pin LD9_Pin LD10_Pin LD8_Pin
                             LD6_Pin */
    GPIO_InitStruct.Pin = CS_I2C_SPI_Pin | LD4_Pin | LD3_Pin | LD5_Pin
                          | LD7_Pin | LD9_Pin | LD10_Pin | LD8_Pin
                          | LD6_Pin;
    GPIO_InitStruct.Mode = GPIO_MODE_OUTPUT_PP;
    GPIO_InitStruct.Pull = GPIO_NOPULL;
    GPIO_InitStruct.Speed = GPIO_SPEED_FREQ_LOW;
    HAL_GPIO_Init(GPIOE, &GPIO_InitStruct);

    /*Configure GPIO pins : PC0 PC1 PC2 PC3 */
    GPIO_InitStruct.Pin = GPIO_PIN_0 | GPIO_PIN_1 | GPIO_PIN_2 | GPIO_PIN_3;
    GPIO_InitStruct.Mode = GPIO_MODE_OUTPUT_PP;
    GPIO_InitStruct.Pull = GPIO_NOPULL;
    GPIO_InitStruct.Speed = GPIO_SPEED_FREQ_LOW;
    HAL_GPIO_Init(GPIOC, &GPIO_InitStruct);

    /*Configure GPIO pin : PF2 */
    GPIO_InitStruct.Pin = GPIO_PIN_2;
    GPIO_InitStruct.Mode = GPIO_MODE_OUTPUT_PP;
    GPIO_InitStruct.Pull = GPIO_NOPULL;
    GPIO_InitStruct.Speed = GPIO_SPEED_FREQ_LOW;
    HAL_GPIO_Init(GPIOF, &GPIO_InitStruct);

    /*Configure GPIO pins : PA0 PA1 PA3 */
    GPIO_InitStruct.Pin = GPIO_PIN_0 | GPIO_PIN_1 | GPIO_PIN_3;
    GPIO_InitStruct.Mode = GPIO_MODE_OUTPUT_PP;
    GPIO_InitStruct.Pull = GPIO_NOPULL;
    GPIO_InitStruct.Speed = GPIO_SPEED_FREQ_LOW;
    HAL_GPIO_Init(GPIOA, &GPIO_InitStruct);

    /*Configure GPIO pins : PD3 PD5 PD7 */
    GPIO_InitStruct.Pin = GPIO_PIN_3 | GPIO_PIN_5 | GPIO_PIN_7;
    GPIO_InitStruct.Mode = GPIO_MODE_IT_RISING;
    GPIO_InitStruct.Pull = GPIO_PULLDOWN;
    HAL_GPIO_Init(GPIOD, &GPIO_InitStruct);

    /*Configure GPIO pins : PD4 PD6 */
    GPIO_InitStruct.Pin = GPIO_PIN_4 | GPIO_PIN_6;
    GPIO_InitStruct.Mode = GPIO_MODE_OUTPUT_PP;
    GPIO_InitStruct.Pull = GPIO_NOPULL;
    GPIO_InitStruct.Speed = GPIO_SPEED_FREQ_LOW;
    HAL_GPIO_Init(GPIOD, &GPIO_InitStruct);

    /*Configure GPIO pins : PB3 PB5 */
    GPIO_InitStruct.Pin = GPIO_PIN_3 | GPIO_PIN_5;
    GPIO_InitStruct.Mode = GPIO_MODE_OUTPUT_PP;
    GPIO_InitStruct.Pull = GPIO_NOPULL;
    GPIO_InitStruct.Speed = GPIO_SPEED_FREQ_LOW;
    HAL_GPIO_Init(GPIOB, &GPIO_InitStruct);

    /*Configure GPIO pin : PB4 */
    GPIO_InitStruct.Pin = GPIO_PIN_4;
    GPIO_InitStruct.Mode = GPIO_MODE_IT_RISING;
    GPIO_InitStruct.Pull = GPIO_PULLDOWN;
    HAL_GPIO_Init(GPIOB, &GPIO_InitStruct);

    /* EXTI interrupt init*/
    HAL_NVIC_SetPriority(EXTI3_IRQn, 0, 0);
    HAL_NVIC_EnableIRQ(EXTI3_IRQn);

    HAL_NVIC_SetPriority(EXTI4_IRQn, 0, 0);
    HAL_NVIC_EnableIRQ(EXTI4_IRQn);

    HAL_NVIC_SetPriority(EXTI9_5_IRQn, 0, 0);
    HAL_NVIC_EnableIRQ(EXTI9_5_IRQn);

}

/* USER CODE BEGIN 4 */

void generate_random_items() {

    int x;
    int y;
    int counter = 0;

    while (counter != 1) {
        x = HAL_GetTick() % 4;
        y = HAL_GetTick() % 21;
        if (board[x][y].symbol == 'E') {
            board[x][y].symbol = 'H';
            counter++;
        }
    }
    counter = 0;
    while (counter != 1) {
        x = HAL_GetTick() % 4;
        y = HAL_GetTick() % 21;
        if (board[x][y].symbol == 'E') {
            board[x][y].symbol = 'R';
            counter++;
        }
    }
}

void initial_board() {
    sprintf(msg, "**********\n");
    HAL_UART_Transmit(&huart1, msg, strlen(msg), 100);
    sprintf(msg, "First Player: %s\n", name1);
    HAL_UART_Transmit(&huart1, msg, strlen(msg), 100);
    sprintf(msg, "Second Player: %s\n", name2);
    HAL_UART_Transmit(&huart1, msg, strlen(msg), 100);
    sprintf(msg, "START");
    HAL_UART_Transmit(&huart1, msg, strlen(msg), 100);
    for (int i = 0; i < 4; i++) {
        for (int j = 0; j < 20; j++) {
            board[i][j].symbol = 'E';
        }
    }

    board[2][0].symbol = '1';
    board[2][0].direction = 'R';
    board[2][0].x = 2;
    board[2][0].y = 0;
    board[2][0].bullet = bullet;
    board[2][0].health = health;
    board[2][0].score = 0;

    board[1][19].symbol = '2';
    board[1][19].direction = 'L';
    board[1][19].x = 1;
    board[1][19].y = 19;
    board[1][19].bullet = bullet;
    board[1][19].health = health;
    board[1][19].score = 0;

    board[1][1].symbol = 'W';
    board[2][1].symbol = 'W';
    board[1][18].symbol = 'W';
    board[2][18].symbol = 'W';

    int x;
    int y;
    int counter = 0;

    while (counter != 1) {
//        x = rand() % 4;
//        y = rand() % 21;
        x = HAL_GetTick() % 4;
        y = HAL_GetTick() % 21;
        if (board[x][y].symbol == 'E') {
            board[x][y].symbol = 'H';
            counter++;
        }
    }
    counter = 0;
    while (counter != 1) {
        x = HAL_GetTick() % 4;
        y = HAL_GetTick() % 21;
        if (board[x][y].symbol == 'E') {
            board[x][y].symbol = 'R';
            counter++;
        }
    }
    counter = 0;
    while (counter != 1) {
        x = HAL_GetTick() % 4;
        y = HAL_GetTick() % 21;
        if (board[x][y].symbol == 'E') {
            board[x][y].symbol = 'M';
            counter++;
        }
    }
}

int check_next_bullet(int x, int y) {

    if (x == -1 || x == 4 || y == -1 || y == 20) {
        return 0;
    }

    switch (board[x][y].symbol) {
        case '*':
            board[x][y].symbol = 'E';
            return 0;
        case 'E':
            return 1;
        case 'H':
        case 'R':
            return 2;
        case 'M':
            board[x][y].symbol = 'E';
            return 1;
        case 'W':
            return 0;
        case '1':
            board[x1][y1].health--;
            board[x2][y2].score++;
            if (sounds)
                PWM_Change_Tone(300, 100);
            sounds_play = 1;
            sounds_time = HAL_GetTick();
            return 0;
        case '2':
            board[x2][y2].health--;
            board[x1][y1].score++;
            if (sounds)
                PWM_Change_Tone(300, 100);
            sounds_play = 1;
            sounds_time = HAL_GetTick();
            return 0;

    }
    return 0;
}

void print_end() {
    clear();
    setCursor(0, 0);
    print("END");
    if (board[x1][y1].health > board[x2][y2].health) {
        setCursor(0, 1);
        sprintf(str, "Winner: %s", name1);
        print(str);
        setCursor(0, 2);
        sprintf(str, "Score: %d", board[x1][y1].score);
        print(str);
    } else if (board[x1][y1].health < board[x2][y2].health) {
        setCursor(0, 1);
        sprintf(str, "Winner: %s", name2);
        print(str);
        setCursor(0, 2);
        sprintf(str, "Score: %d", board[x2][y2].score);
        print(str);
    } else {
        setCursor(0, 1);
        sprintf(str, "Winner: %s", name1);
        print(str);
        setCursor(0, 2);
        sprintf(str, "Winner: %s", name2);
        print(str);
        setCursor(0, 3);
        sprintf(str, "Score: %d", board[x2][y2].score);
        print(str);
    }
}

void print_board() {
    static uint32_t last_time = 0;
    for (int i = 0; i < 4; i++) {
        for (int j = 0; j < 20; j++) {
            switch (board[i][j].symbol) {
                //T tank, B bullet, H health, R rocket, M manee
                case '1':
                case '2':
                    switch (board[i][j].direction) {
                        case 'U':
                            setCursor(j, i);
                            write(0);
                            break;
                        case 'R':
                            setCursor(j, i);
                            write(1);
                            break;
                        case 'D':
                            setCursor(j, i);
                            write(2);
                            break;
                        case 'L':
                            setCursor(j, i);
                            write(3);
                            break;
                    }
                    break;
                case 'H':
                    setCursor(j, i);
                    write(6);
                    break;
                case 'R':
                    setCursor(j, i);
                    write(7);
                    break;
                case 'M':
                    setCursor(j, i);
                    write(5);
                    break;
                case 'W':
                    setCursor(j, i);
                    write(4);
                    break;
                case 'E':
                    setCursor(j, i);
                    print(" ");
                    break;
                case '*':
                    if (HAL_GetTick() - last_time > 30) {
                        int result;
                        switch (board[i][j].direction) {
                            case 'U':
                                result = check_next_bullet(i - 1, j);
                                if (result == 0) {
                                    setCursor(j, i);
                                    print(" ");
                                    board[i][j].symbol = 'E';
                                } else if (result == 1) {
                                    setCursor(j, i - 1);
                                    print("*");
                                    board[i - 1][j] = board[i][j];

                                    setCursor(j, i);
                                    write(' ');
                                    board[i][j].symbol = 'E';

                                } else if (result == 2 && i - 2 >= 0) {
                                    setCursor(j, i - 2);
                                    print("*");
                                    board[i - 2][j] = board[i][j];

                                    setCursor(j, i);
                                    write(' ');
                                    board[i][j].symbol = 'E';
                                }
                                break;
                            case 'R':
                                result = check_next_bullet(i, j + 1);
                                if (result == 0) {
                                    setCursor(j, i);
                                    print(" ");
                                    board[i][j].symbol = 'E';
                                } else if (result == 1) {
                                    setCursor(j + 1, i);
                                    print("*");
                                    board[i][j + 1] = board[i][j];

                                    setCursor(j, i);
                                    print(" ");
                                    board[i][j].symbol = 'E';

                                } else if (result == 2 && j + 2 <= 19) {
                                    setCursor(j + 2, i);
                                    print("*");
                                    board[i][j + 2] = board[i][j];

                                    setCursor(j, i);
                                    print(" ");
                                    board[i][j].symbol = 'E';
                                }
                                break;
                            case 'D':
                                result = check_next_bullet(i + 1, j);
                                if (result == 0) {
                                    setCursor(j, i);
                                    print(" ");
                                    board[i][j].symbol = 'E';
                                } else if (result == 1) {
                                    setCursor(j, i + 1);
                                    print("*");
                                    board[i + 1][j] = board[i][j];

                                    setCursor(j, i);
                                    print(" ");
                                    board[i][j].symbol = 'E';

                                } else if (result == 2 && i + 2 <= 3) {
                                    setCursor(j, i + 2);
                                    print("*");
                                    board[i + 2][j] = board[i][j];

                                    setCursor(j, i);
                                    print(" ");
                                    board[i][j].symbol = 'E';
                                }
                                break;
                            case 'L':
                                result = check_next_bullet(i, j - 1);
                                if (result == 0) {
                                    setCursor(j, i);
                                    print(" ");
                                    board[i][j].symbol = 'E';
                                } else if (result == 1) {
                                    setCursor(j - 1, i);
                                    print("*");
                                    board[i][j - 1] = board[i][j];

                                    setCursor(j, i);
                                    print(" ");
                                    board[i][j].symbol = 'E';

                                } else if (result == 2 && j - 2 >= 0) {
                                    setCursor(j - 2, i);
                                    print("*");
                                    board[i][j - 2] = board[i][j];

                                    setCursor(j, i);
                                    print(" ");
                                    board[i][j].symbol = 'E';
                                }
//                                else if (j - 2 < 0) {
//                                    setCursor(j, i);
//                                    print(" ");
//                                    board[i][j].symbol = 'E';
//                                }
                                break;
                        }
                        last_time = HAL_GetTick();
                    }
                    break;
            }
        }
    }
}

void HAL_TIM_PeriodElapsedCallback(TIM_HandleTypeDef *htim) {

    if (htim->Instance == TIM3 && mode == 2) {
        seven_segment_refresh();

        if (board[x1][y1].health > 9) {
            board[x1][y1].health = 9;
        }
        if (board[x2][y2].health > 9) {
            board[x2][y2].health = 9;
        }
        if (board[x1][y1].bullet > 9) {
            board[x1][y1].bullet = 9;
        }
        if (board[x2][y2].bullet > 9) {
            board[x2][y2].bullet = 9;
        }

        if (board[x1][y1].bullet < 0) {
            board[x1][y1].bullet = 0;
        }
        if (board[x2][y2].bullet < 0) {
            board[x2][y2].bullet = 0;
        }
    }

    //LCD
    if (htim->Instance == TIM2) {

        if (sounds_play == 1 && HAL_GetTick() - sounds_time > 500) {
            PWM_Change_Tone(0, 0);
        }

        int remain = 0;
        int col = 0;
        if (mode == 0 && music == 1) {
            HAL_GPIO_WritePin(GPIOE, GPIO_PIN_9, 1);
            Change_Melody(two, ARRAY_LENGTH(two));
            music = 0;
        }
        switch (mode) {

            //Initial
            case (0):

                if (clear_flag) {
                    clear_flag = 0;
                    clear();
                }
                setCursor(8, 1);
                print("TANK");
                setCursor(7, 2);
                print("BATTLE");
                setCursor(5, 3);
                write(0);
                setCursor(14, 3);
                write(0);
                setCursor(5, 2);
                print("*");
                setCursor(14, 2);
                print("*");
                break;

                //Menu
            case (1):
                if (clear_flag) {
                    clear_flag = 0;
                    clear();
                }
                setCursor(1, 0);
                print("Start Game");
                setCursor(1, 1);
                print("Settings");
                setCursor(1, 2);
                print("About");
                switch (select_line) {
                    case (1):
                        setCursor(0, 1);
                        print(" ");
                        setCursor(0, 2);
                        print(" ");
                        setCursor(0, 0);
                        write(1);
                        break;
                    case (2):
                        setCursor(0, 0);
                        print(" ");
                        setCursor(0, 2);
                        print(" ");
                        setCursor(0, 1);
                        write(1);
                        break;
                    case (3):
                        setCursor(0, 0);
                        print(" ");
                        setCursor(0, 1);
                        print(" ");
                        setCursor(0, 2);
                        write(1);
                        break;
                }
                break;

                //Start
            case (2):
                if (clear_flag) {
                    clear_flag = 0;
                    clear();
                    initial_board();
                    print_board();
                }
                seven_segment.digits[1] = board[x2][y2].health;
                seven_segment.digits[0] = board[x2][y2].bullet;
                seven_segment.digits[3] = board[x1][y1].health;
                seven_segment.digits[2] = board[x1][y1].bullet;
                if (board[x1][y1].health == 0 || board[x2][y2].health == 0) {
                    mode = 5;
                    clear_flag = 1;
                    flag = 1;
                    HAL_GPIO_WritePin(GPIOE, GPIO_PIN_8, 1);
                }

                break;

                //Settings
            case (3):
                if (clear_flag) {
                    clear_flag = 0;
                    clear();
                }
                setCursor(0, 0);
                sprintf(str, "1) %s", name1);
                print(str);
                setCursor(0, 1);
                sprintf(str, "2) %s", name2);
                print(str);
                setCursor(1, 2);
                sprintf(str, "Health:%d", health);
                print(str);
                setCursor(11, 2);
                sprintf(str, "Bullet:%d", bullet);
                print(str);
                setCursor(1, 3);
                sprintf(str, "Sounds:%d", sounds);
                print(str);
                switch (select_item) {
                    case (1):
                        print(" ");
                        setCursor(0, 3);
                        print(" ");
                        setCursor(10, 2);
                        print(" ");
                        setCursor(0, 2);
                        write(1);
                        break;
                    case (2):
                        setCursor(0, 2);
                        print(" ");
                        setCursor(0, 3);
                        print(" ");
                        setCursor(10, 2);
                        write(1);
                        break;
                    case (3):
                        setCursor(0, 2);
                        print(" ");
                        setCursor(10, 2);
                        print(" ");
                        setCursor(0, 3);
                        write(1);
                        break;
                }
                break;

                //About
            case (4):
                if (clear_flag) {
                    clear_flag = 0;
                    clear();
                }
                setCursor(0, 0);
                write(1);
                setCursor(19, 0);
                write(3);
                setCursor(1, 0);
                print("TAHOORA and SAJJAD");
                HAL_RTC_GetTime(&hrtc, &myTime, RTC_FORMAT_BIN);
                HAL_RTC_GetDate(&hrtc, &myDate, RTC_FORMAT_BIN);
                setCursor(0, 2);
                sprintf(str, "TIME= %2d:%2d:%2d", myTime.Hours, myTime.Minutes,
                        myTime.Seconds);
                print(str);
                setCursor(0, 3);
                sprintf(str, "DATE= %2d/%2d/%2d", myDate.Year, myDate.Month,
                        myDate.Date);
                print(str);
                break;
        }
    }
}

void change_direction_tank(char tank) {
    int x, y;
    x = tank == '1' ? x1 : x2;
    y = tank == '1' ? y1 : y2;

    switch (board[x][y].direction) {
        case 'U':
            board[x][y].direction = 'R';
            break;
        case 'R':
            board[x][y].direction = 'D';
            break;
        case 'D':
            board[x][y].direction = 'L';
            break;
        case 'L':
            board[x][y].direction = 'U';
            break;
    }
}

int check_next(int x, int y, int tank) {
    Element next_element = board[x][y];

    switch (next_element.symbol) {
        case 'E':
            return 1;
        case 'H':
            next_element.symbol = 'E';
            if (tank == 1)
                board[x1][y1].health++;
            else
                board[x2][y2].health++;
            return 1;
        case 'R':
            next_element.symbol = 'E';
            if (tank == 1)
                board[x1][y1].bullet++;
            else
                board[x2][y2].bullet++;
            return 1;
        case 'M':
        case 'W':
        case '1':
        case '2':
            return 0;
    }
    return 0;
}

void move(char tank) {
    int x, y;
    x = tank == '1' ? x1 : x2;
    y = tank == '1' ? y1 : y2;

    switch (board[x][y].direction) {
        case 'U':
            if (x != 0) {
                int result =
                        tank == '1' ?
                        check_next(x - 1, y, 1) : check_next(x - 1, y, 2);
                if (result) {
                    if (tank == '1') {
                        x1 = x1 - 1;
                    } else {
                        x2 = x2 - 1;
                    }
                    board[x - 1][y] = board[x][y];
                    board[x][y].symbol = 'E';
                }
            }
            break;
        case 'R':
            if (y != 19) {
                int result =
                        tank == '1' ?
                        check_next(x, y + 1, 1) : check_next(x, y + 1, 2);
                if (result) {
                    if (tank == '1') {
                        y1 = y1 + 1;
                    } else {
                        y2 = y2 + 1;
                    }
                    board[x][y + 1] = board[x][y];
                    board[x][y].symbol = 'E';
                }
            }
            break;
        case 'D':
            if (x != 3) {
                int result =
                        tank == '1' ?
                        check_next(x + 1, y, 1) : check_next(x + 1, y, 2);

                if (result) {
                    board[x + 1][y] = board[x][y];
                    board[x][y].symbol = 'E';
                    if (tank == '1') {
                        x1 = x1 + 1;
                    } else {
                        x2 = x2 + 1;
                    }
                }
            }
            break;
        case 'L':
            if (y != 0) {
                int result =
                        tank == '1' ?
                        check_next(x, y - 1, 1) : check_next(x, y - 1, 2);

                if (result) {
                    if (tank == '1') {
                        y1 = y1 - 1;
                    } else {
                        y2 = y2 - 1;
                    }
                    board[x][y - 1] = board[x][y];
                    board[x][y].symbol = 'E';
                }
            }
            break;
    }
}

void fire(char tank) {
    int x, y;
    x = tank == '1' ? x1 : x2;
    y = tank == '1' ? y1 : y2;
    switch (board[x][y].direction) {
        case 'U':
            if (x != 0 && board[x - 1][y].symbol != 'W') {
                board[x - 1][y].symbol = '*';
                board[x - 1][y].direction = 'U';
            }
            break;
        case 'R':
            if (y != 19 && board[x][y + 1].symbol != 'W') {
                board[x][y + 1].symbol = '*';
                board[x][y + 1].direction = 'R';
            }
            break;
        case 'D':
            if (x != 3 && board[x + 1][y].symbol != 'W') {
                board[x + 1][y].symbol = '*';
                board[x + 1][y].direction = 'D';
            }
            break;
        case 'L':
            if (y != 0 && board[x][y - 1].symbol != 'W') {
                board[x][y - 1].symbol = '*';
                board[x][y - 1].direction = 'L';
            }
            break;
    }
}

void HAL_GPIO_EXTI_Callback(uint16_t GPIO_Pin) {
    if (last_gpio_exti + 150 > HAL_GetTick()) // Simple button debouncing
    {
        return;
    }
    last_gpio_exti = HAL_GetTick();

    int8_t row_number = -1;
    int8_t column_number = -1;

    if (GPIO_Pin == GPIO_PIN_0) {
        // blue_button_pressed = 1;
        // return;
    }

    for (uint8_t row = 0; row < 4; row++) // Loop through Rows
    {
        if (GPIO_Pin == Row_pins[row]) {
            row_number = row;
        }
    }

    HAL_GPIO_WritePin(Column_ports[0], Column_pins[0], 0);
    HAL_GPIO_WritePin(Column_ports[1], Column_pins[1], 0);
    HAL_GPIO_WritePin(Column_ports[2], Column_pins[2], 0);
    HAL_GPIO_WritePin(Column_ports[3], Column_pins[3], 0);

    for (uint8_t col = 0; col < 4; col++) // Loop through Columns
    {
        HAL_GPIO_WritePin(Column_ports[col], Column_pins[col], 1);
        if (HAL_GPIO_ReadPin(Row_ports[row_number], Row_pins[row_number])) {
            column_number = col;
        }
        HAL_GPIO_WritePin(Column_ports[col], Column_pins[col], 0);
    }

    HAL_GPIO_WritePin(Column_ports[0], Column_pins[0], 1);
    HAL_GPIO_WritePin(Column_ports[1], Column_pins[1], 1);
    HAL_GPIO_WritePin(Column_ports[2], Column_pins[2], 1);
    HAL_GPIO_WritePin(Column_ports[3], Column_pins[3], 1);

    if (row_number == -1 || column_number == -1) {
        return; // Reject invalid scan
    }
    //   C0   C1   C2   C3
    // +----+----+----+----+
    // | 1  | 2  | 3  | 4  |  R0
    // +----+----+----+----+
    // | 5  | 6  | 7  | 8  |  R1
    // +----+----+----+----+
    // | 9  | 10 | 11 | 12 |  R2
    // +----+----+----+----+
    // | 13 | 14 | 15 | 16 |  R3
    // +----+----+----+----+
    const uint8_t button_number = row_number * 4 + column_number + 1;
    char str[10];
    switch (button_number) {
        case 5: //s3
            if (mode == 2)
                change_direction_tank('2');
            break;
        case 6: //s7
            if (mode == 2) {
                move('2');
            }

            break;
        case 7: //s11
            if (mode == 2) {
                if (board[x2][y2].bullet != 0) {
                    fire('2');
                    if (sounds)
                        PWM_Change_Tone(150, 100);
                    sounds_play = 1;
                    sounds_time = HAL_GetTick();
                    board[x2][y2].bullet--;
                }

            }
            break;
        case 8: //s15

            break;
        case 13: //s1
            if (mode == 0) {
                mode = 1;
                clear_flag = 1;
            } else if (mode == 1) {
                select_line = (select_line % 3) + 1;
            } else if (mode == 2) {
                change_direction_tank('1');
            } else if (mode == 3) {
                select_item = (select_item % 3) + 1;
            }
            break;
        case 14: //s5
            if (mode == 1) {
                mode = select_line + 1;
                if (mode == 2)
                    PWM_Change_Tone(0, 0);
                clear_flag = 1;
            } else if (mode == 2) {
                move('1');
            } else if (mode == 3) {
                switch (select_item) {
                    case 1:
                        health = (health % 9) + 1;
                        break;
                    case 2:
                        bullet = (bullet % 9) + 1;
                        break;

                    case 3:
                        sounds = (sounds + 1) % 2;
                        break;

                }
            }
            break;
        case 15: //s9
            if (mode == 2) {
                if (board[x1][y1].bullet != 0) {
                    fire('1');
                    if (sounds)
                        PWM_Change_Tone(150, 100);
                    sounds_play = 1;
                    sounds_time = HAL_GetTick();
                    board[x1][y1].bullet--;
                }
            }
            break;
        case 16: //s13
            if (mode == 3 || mode == 4) {
                mode = 1;
                clear_flag = 1;
            }
            break;

        default:
            break;
    }
}
/* USER CODE END 4 */

void Error_Handler(void) {
    __disable_irq();
    while (1) {
    }
}
